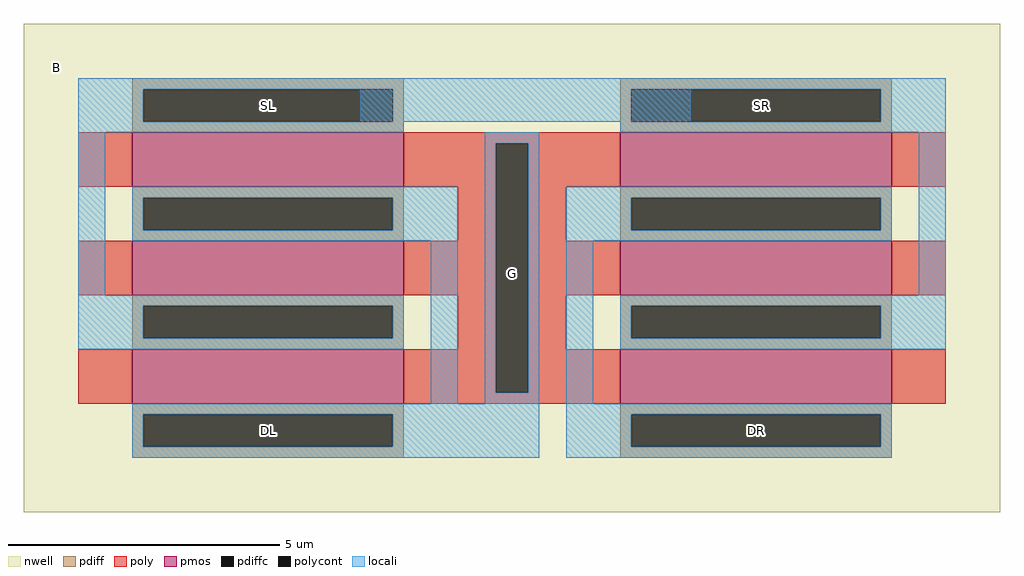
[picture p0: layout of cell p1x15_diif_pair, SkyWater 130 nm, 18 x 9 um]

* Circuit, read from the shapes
.subckt p1x15_diif_pair DL DR G SL SR B
XM1 p1x15_0/S p1x15_0/D p1x15_0/D p1x15_0/B sky130_fd_pr__pfet_01v8 w=5 l=1 m=3
XM2 p1x15_0/S p1x15_0/D p1x15_1/D p1x15_0/B sky130_fd_pr__pfet_01v8 w=5 l=1 m=3
.ends

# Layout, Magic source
magic
tech sky130A
<< nwell >>
rect 80 100 690 180
rect 150 -520 410 -420
<< locali >>
rect 80 100 690 180
rect 150 -520 410 -420
use p1x15  p1x15_0
transform -1 0 -40 0 -1 -320
box -500 -600 500 300
use p1x15  p1x15_1
transform 1 0 760 0 -1 -320
box -500 -600 500 300
<< labels >>
flabel space -90 -470 -90 -470 0 FreeSans 800 0 0 0 DL
port 1 nsew
flabel space 810 -470 810 -470 0 FreeSans 800 0 0 0 DR
port 2 nsew
flabel space 360 -180 360 -180 0 FreeSans 800 0 0 0 G
port 3 nsew
flabel space -90 130 -90 130 0 FreeSans 800 0 0 0 SL
port 4 nsew
flabel space 820 130 820 130 0 FreeSans 800 0 0 0 SR
port 5 nsew
flabel space -480 200 -480 200 0 FreeSans 800 0 0 0 B
port 6 nsew
<< end >>

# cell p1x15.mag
magic
tech sky130A
<< nwell >>
rect -500 -600 500 300
<< pmos >>
rect -200 0 300 100
rect -200 -200 300 -100
rect -200 -400 300 -300
<< pdiff >>
rect -200 180 300 200
rect -200 120 -180 180
rect 280 120 300 180
rect -200 100 300 120
rect -200 -20 300 0
rect -200 -80 -180 -20
rect 280 -80 300 -20
rect -200 -100 300 -80
rect -200 -220 300 -200
rect -200 -280 -180 -220
rect 280 -280 300 -220
rect -200 -300 300 -280
rect -200 -420 300 -400
rect -200 -480 -180 -420
rect 280 -480 300 -420
rect -200 -500 300 -480
<< pdiffc >>
rect -180 120 280 180
rect -180 -80 280 -20
rect -180 -280 280 -220
rect -180 -480 280 -420
<< poly >>
rect -450 80 -200 100
rect -450 -380 -430 80
rect -370 0 -200 80
rect 300 0 400 100
rect -370 -100 -300 0
rect -370 -200 -200 -100
rect 300 -200 400 -100
rect -370 -300 -300 -200
rect -370 -380 -200 -300
rect -450 -400 -200 -380
rect 300 -400 400 -300
<< polycont >>
rect -430 -380 -370 80
<< locali >>
rect -300 180 300 200
rect -300 120 -180 180
rect 280 120 300 180
rect -300 100 300 120
rect -450 80 -350 100
rect -450 -380 -430 80
rect -370 -380 -350 80
rect -300 -200 -250 100
rect -200 -20 400 0
rect -200 -80 -180 -20
rect 280 -80 400 -20
rect -200 -100 400 -80
rect -300 -220 300 -200
rect -300 -280 -180 -220
rect 280 -280 300 -220
rect -300 -300 300 -280
rect -450 -400 -350 -380
rect 350 -400 400 -100
rect -200 -420 400 -400
rect -200 -480 -180 -420
rect 280 -480 400 -420
rect -200 -500 400 -480
<< labels >>
flabel pdiffc 40 150 40 150 0 FreeSans 800 0 0 0 D
port 0 nsew
flabel polycont -400 -150 -400 -150 0 FreeSans 800 0 0 0 G
port 1 nsew
flabel pdiffc 60 -450 60 -450 0 FreeSans 800 0 0 0 S
port 2 nsew
flabel nwell -400 210 -400 210 0 FreeSans 800 0 0 0 B
port 3 nsew
<< end >>
